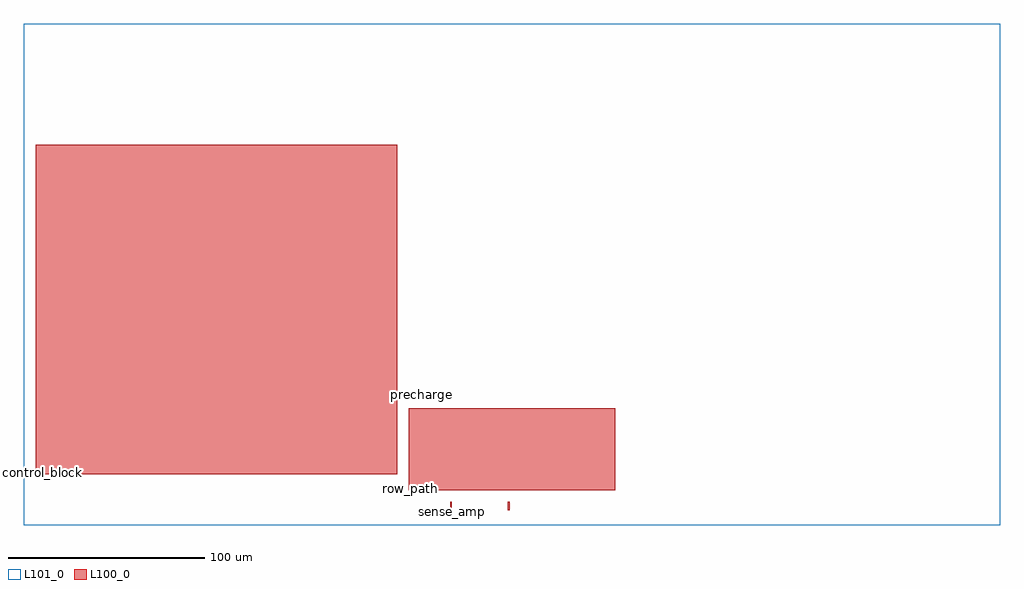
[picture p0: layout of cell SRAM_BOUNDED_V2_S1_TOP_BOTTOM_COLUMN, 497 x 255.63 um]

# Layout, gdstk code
import gdstk
lib = gdstk.Library(unit=1e-6, precision=1e-09)
def R(c, l, rs):  # rectangles x0, y0, x1, y1
    for r in rs: c.add(gdstk.rectangle(r[:2], r[2:], *l))
L100_0 = (100, 0)
L101_0 = (101, 0)

sram_bounded_v2_s1_top_b = lib.new_cell('SRAM_BOUNDED_V2_S1_TOP_BOTTOM_COLUMN')
R(sram_bounded_v2_s1_top_b, L100_0, [(21.001,-12.01,21.776,-6), (50.401,-10.175,51.241,-6), (0,0,105.003,41.62), (-190,8,-6,176), (5.25,47.62,5.963,49.01)])
R(sram_bounded_v2_s1_top_b, L101_0, [(-196,-18.01,301.002,237.62)])
sram_bounded_v2_s1_top_b.add(gdstk.Label('row_path', (1,1), layer=11, texttype=2))
sram_bounded_v2_s1_top_b.add(gdstk.Label('precharge', (6.25,48.62), layer=11, texttype=2))
sram_bounded_v2_s1_top_b.add(gdstk.Label('sense_amp', (22.001,-11.01), layer=11, texttype=2))
sram_bounded_v2_s1_top_b.add(gdstk.Label('write_driver', (51.401,-9.175), layer=11, texttype=2))
sram_bounded_v2_s1_top_b.add(gdstk.Label('control_block', (-189,9), layer=11, texttype=2))

lib.write_gds('SRAM_BOUNDED_V2_S1_TOP_BOTTOM_COLUMN.gds')
